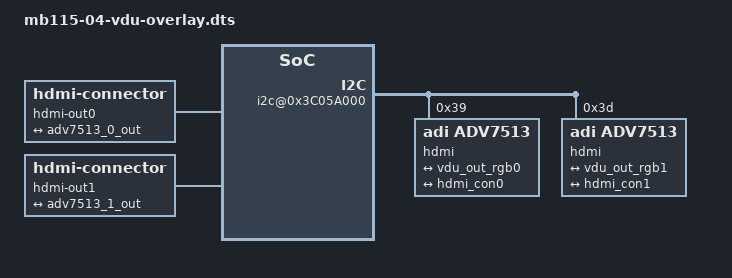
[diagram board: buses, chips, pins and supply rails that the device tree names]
/*
*
* Device Tree Overlay Example for RCM MB115.04 extention board (Video only)
*
*/
/dts-v1/;
/plugin/;

/ {
	fragment@0 {
		target-path = "/";
		__overlay__ {
			// HDMI channel 0 for DRM drivers
			hdmi-out0 {
				compatible = "hdmi-connector";
				type = "a";

				port {
					hdmi_con0: endpoint {
						remote-endpoint = <&adv7513_0_out>;
					};
				};
			};

			// HDM channel 1 for DRM drivers
			hdmi-out1 {
				compatible = "hdmi-connector";
				type = "a";

				port {
					hdmi_con1: endpoint {
						remote-endpoint = <&adv7513_1_out>;
					};
				};
			};
		};
	};

	fragment@1 {
		target-path = "/plb/lsif1/i2c@0x3C05A000";
		__overlay__ {
			status = "ok";
			#address-cells = <1>;
			#size-cells = <0>;

			// HDMI channel 0 for DRM drivers
			hdmi@39 {
				compatible = "adi,adv7513";
				reg = <0x39>, <0x29>, <0x49>, <0x59>;
				reg-names = "main", "cec", "edid", "packet";

				adi,input-depth = <8>;
				adi,input-colorspace = "yuv444";
				adi,input-clock = "1x";
				adi,input-style = <1>;
				adi,input-justification = "evenly";

				ports {
					#address-cells = <1>;
					#size-cells = <0>;

					port@0 {
						reg = <0>;
						adv7513_0_in: endpoint {
							remote-endpoint = <&vdu_out_rgb0>;
						};
					};

					port@1 {
						reg = <1>;
						adv7513_0_out: endpoint {
							remote-endpoint = <&hdmi_con0>;
						};
					};
				};
			};

			// HDMI channel 1 for DRM drivers
			hdmi@3d {
				compatible = "adi,adv7513";
				reg = <0x3d>, <0x2d>, <0x6d>, <0x5d>;
				reg-names = "main", "cec", "edid", "packet";

				adi,input-depth = <8>;
				adi,input-colorspace = "yuv444";
				adi,input-clock = "1x";
				adi,input-style = <1>;
				adi,input-justification = "evenly";

				ports {
					#address-cells = <1>;
					#size-cells = <0>;

					port@0 {
						reg = <0>;
						adv7513_1_in: endpoint {
							remote-endpoint = <&vdu_out_rgb1>;
						};
					};

					port@1 {
						reg = <1>;
						adv7513_1_out: endpoint {
							remote-endpoint = <&hdmi_con1>;
						};
					};
				};
			};
		};
	};

	fragment@2 {
		target-path = "/plb/mms/vdu@38013000";
		__overlay__ {
			status = "ok";
			output-color-space = "yuv444";
			max-width = <1280>;
			max-height = <720>;
			ports {
				port@0 {
					vdu_out_rgb0: endpoint@0 {
						remote-endpoint = <&adv7513_0_in>;
					};
				};
			};
		};
	};

	fragment@3 {
		target-path = "/plb/mms/vdu@38011000";
		__overlay__ {
			status = "ok";
			output-color-space = "yuv444";
			max-width = <1280>;
			max-height = <720>;
			ports {
				port@0 {
					vdu_out_rgb1: endpoint@0 {
						remote-endpoint = <&adv7513_1_in>;
					};
				};
			};
		};
	};
};
